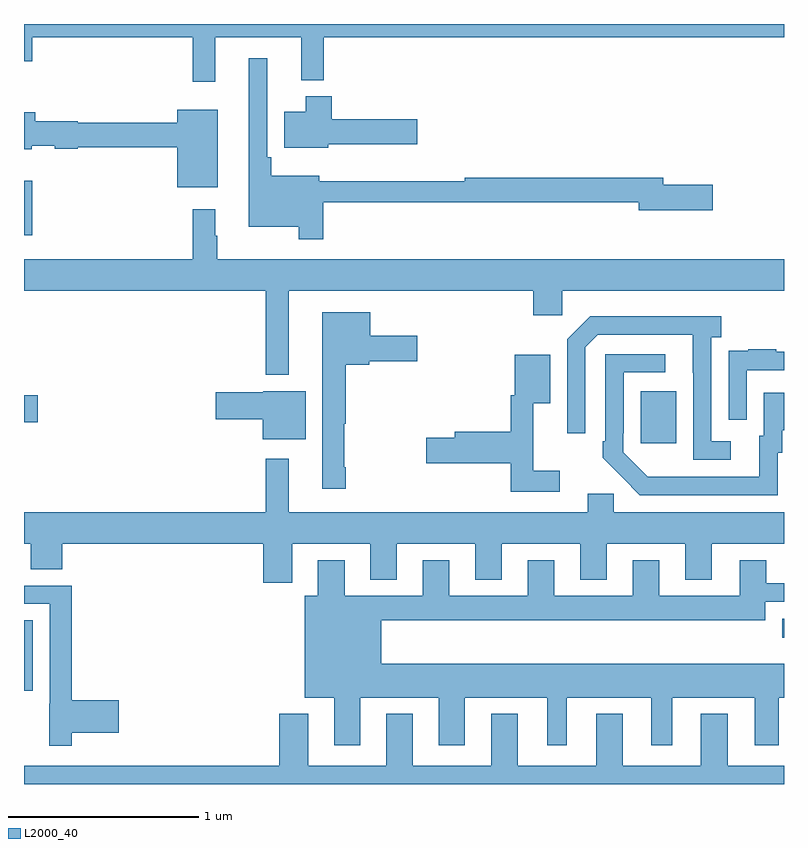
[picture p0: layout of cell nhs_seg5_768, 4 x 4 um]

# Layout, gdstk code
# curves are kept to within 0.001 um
import gdstk
lib = gdstk.Library(unit=1e-6, precision=1e-09)
def R(c, l, rs):  # rectangles x0, y0, x1, y1
    for r in rs: c.add(gdstk.rectangle(r[:2], r[2:], *l))
def P(c, l, *ps):  # polygons
    for p in ps: c.add(gdstk.Polygon(p, *l))
L2000_40 = (2000, 40)

nhs_seg5_768 = lib.new_cell('nhs_seg5_768')
R(nhs_seg5_768, L2000_40, [(159,885.291,159.046,885.661), (162.99,885.569,163,885.67), (162.245,886.593,162.433,886.867), (159,886.702,159.073,886.844), (159,887.688,159.044,887.974)])
P(nhs_seg5_768, L2000_40, [(160.007,888.728),(160.46,888.728),(160.46,888.503),(160.577,888.503),(160.577,888.728),(163,888.728),(163,888.799),(159,888.799),(159,888.604),(159.044,888.604),(159.044,888.728),(159.889,888.728),(159.889,888.495),(160.007,888.495)],
  [(160.574,887.862),(162.236,887.862),(162.236,887.819),(162.625,887.819),(162.625,887.954),(162.364,887.954),(162.364,887.99),(161.321,887.99),(161.321,887.972),(160.555,887.972),(160.555,888.001),(160.301,888.001),(160.301,888.097),(160.281,888.097),(160.281,888.619),(160.184,888.619),(160.184,887.732),(160.446,887.732),(160.446,887.667),(160.574,887.667)],
  [(160.602,888.167),(161.071,888.167),(161.071,888.297),(160.619,888.297),(160.619,888.418),(160.484,888.418),(160.484,888.337),(160.37,888.337),(160.37,888.149),(160.602,888.149)],
  [(160.021,888.349),(159.806,888.349),(159.806,888.28),(159.282,888.28),(159.282,888.288),(159.059,888.288),(159.059,888.334),(159,888.334),(159,888.14),(159.042,888.14),(159.042,888.158),(159.162,888.158),(159.162,888.143),(159.282,888.143),(159.282,888.151),(159.806,888.151),(159.806,887.939),(160.021,887.939)],
  [(160.393,887.396),(161.681,887.396),(161.681,887.265),(161.832,887.265),(161.832,887.396),(163,887.396),(163,887.56),(160.018,887.56),(160.018,887.684),(160.006,887.684),(160.006,887.824),(159.889,887.824),(159.889,887.56),(159,887.56),(159,887.396),(160.272,887.396),(160.272,886.952),(160.393,886.952)],
  [(160.693,886.465),(160.685,886.465),(160.685,886.694),(160.693,886.694),(160.693,887.006),(160.818,887.006),(160.818,887.024),(161.071,887.024),(161.071,887.158),(160.822,887.158),(160.822,887.281),(160.571,887.281),(160.571,886.353),(160.693,886.353)],
  [(162.721,886.602),(162.618,886.602),(162.618,887.15),(162.67,887.15),(162.67,887.26),(161.98,887.26),(161.859,887.139),(161.859,886.644),(161.955,886.644),(161.955,887.097),(162.021,887.163),(162.521,887.163),(162.522,886.506),(162.721,886.506)],
  [(162.804,886.977),(163,886.977),(163,887.073),(162.959,887.073),(162.959,887.086),(162.811,887.086),(162.811,887.079),(162.709,887.079),(162.709,886.97),(162.708,886.97),(162.708,886.716),(162.804,886.716)],
  [(162.966,886.542),(162.991,886.542),(162.991,886.661),(163,886.661),(163,886.858),(162.893,886.858),(162.893,886.632),(162.869,886.632),(162.869,886.416),(162.282,886.417),(162.153,886.545),(162.153,886.645),(162.156,886.645),(162.156,886.965),(162.376,886.965),(162.376,887.061),(162.06,887.061),(162.06,886.603),(162.045,886.603),(162.045,886.515),(162.242,886.32),(162.966,886.32)],
  [(161.821,886.447),(161.681,886.447),(161.681,886.802),(161.77,886.802),(161.77,887.059),(161.582,887.059),(161.582,886.845),(161.563,886.845),(161.563,886.652),(161.267,886.652),(161.267,886.622),(161.118,886.622),(161.118,886.487),(161.563,886.487),(161.563,886.338),(161.821,886.338)],
  [(160.483,886.867),(160.26,886.867),(160.26,886.862),(160.008,886.862),(160.008,886.72),(160.256,886.72),(160.256,886.613),(160.483,886.613)],
  [(160.411,886.064),(160.823,886.064),(160.823,885.875),(160.963,885.875),(160.963,886.064),(161.375,886.064),(161.375,885.875),(161.515,885.875),(161.515,886.064),(161.927,886.064),(161.927,885.875),(162.067,885.875),(162.067,886.064),(162.479,886.064),(162.479,885.875),(162.619,885.875),(162.619,886.064),(163,886.064),(163,886.228),(162.105,886.228),(162.105,886.326),(161.966,886.326),(161.966,886.228),(160.393,886.228),(160.393,886.51),(160.272,886.51),(160.272,886.228),(159,886.228),(159,886.064),(159.035,886.064),(159.035,885.928),(159.2,885.928),(159.2,886.064),(160.259,886.064),(160.259,885.858),(160.411,885.858)],
  [(160.771,885.254),(161.183,885.254),(161.183,885.003),(161.32,885.003),(161.32,885.254),(161.753,885.254),(161.753,885.003),(161.857,885.003),(161.857,885.254),(162.302,885.254),(162.302,885.003),(162.412,885.003),(162.412,885.254),(162.845,885.254),(162.845,885.003),(162.973,885.003),(162.973,885.254),(163,885.254),(163,885.433),(160.879,885.433),(160.879,885.662),(162.901,885.662),(162.901,885.759),(163,885.759),(163,885.855),(162.907,885.855),(162.907,885.976),(162.767,885.976),(162.767,885.79),(162.343,885.79),(162.343,885.976),(162.203,885.976),(162.203,885.79),(161.791,885.79),(161.791,885.976),(161.651,885.976),(161.651,885.79),(161.239,885.79),(161.239,885.976),(161.099,885.976),(161.099,885.79),(160.687,885.79),(160.687,885.976),(160.547,885.976),(160.547,885.79),(160.478,885.79),(160.478,885.254),(160.634,885.254),(160.634,885.003),(160.771,885.003)],
  [(159.251,885.068),(159.499,885.068),(159.499,885.239),(159.251,885.239),(159.251,885.843),(159,885.843),(159,885.747),(159.135,885.747),(159.135,885.222),(159.134,885.222),(159.134,885),(159.251,885)],
  [(160.495,885.169),(160.343,885.169),(160.343,884.896),(159,884.896),(159,884.799),(163,884.799),(163,884.896),(162.703,884.896),(162.703,885.169),(162.563,885.169),(162.563,884.896),(162.151,884.896),(162.151,885.169),(162.011,885.169),(162.011,884.896),(161.599,884.896),(161.599,885.169),(161.459,885.169),(161.459,884.896),(161.047,884.896),(161.047,885.169),(160.907,885.169),(160.907,884.896),(160.495,884.896)])

lib.write_gds('nhs_seg5_768.gds')
